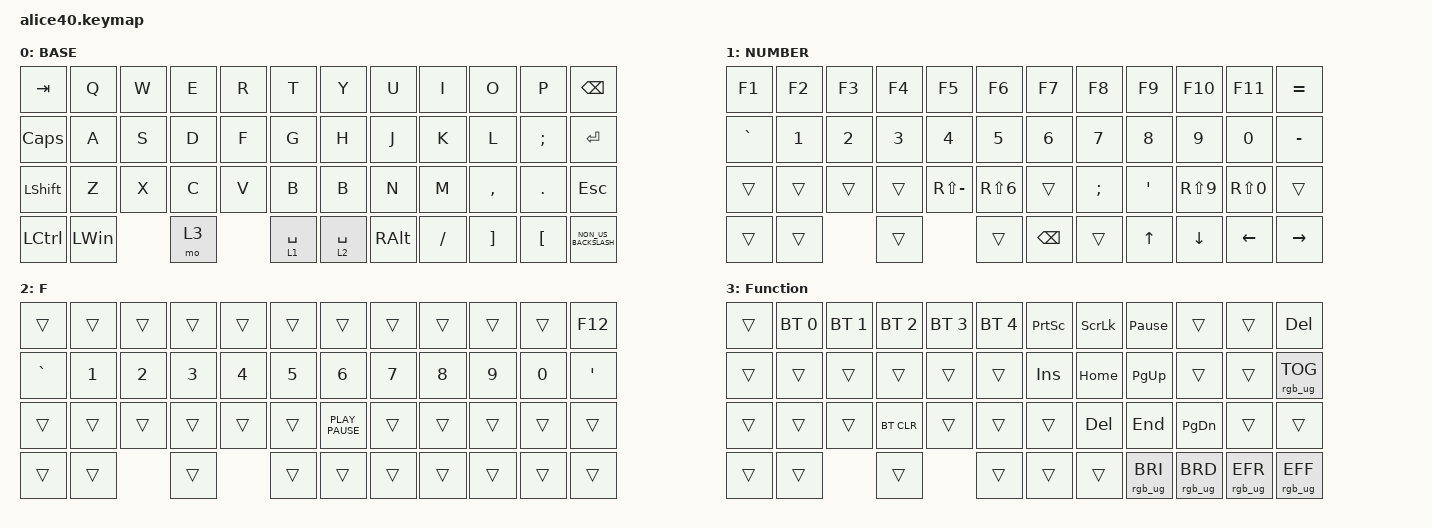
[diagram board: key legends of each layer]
#include <behaviors.dtsi>
#include <dt-bindings/zmk/bt.h>
#include <dt-bindings/zmk/keys.h>
#include <dt-bindings/zmk/rgb.h>

/ {
    keymap {
        compatible = "zmk,keymap";

        Base_layer {
            label = "BASE";
            bindings = <
&kp TAB     &kp Q         &kp W  &kp E  &kp R  &kp T        &kp Y        &kp U          &kp I      &kp O              &kp P             &kp BACKSPACE
&kp CAPS    &kp A         &kp S  &kp D  &kp F  &kp G        &kp H        &kp J          &kp K      &kp L              &kp SEMICOLON     &kp ENTER
&kp LSHIFT  &kp Z         &kp X  &kp C  &kp V  &kp B        &kp B        &kp N          &kp M      &kp COMMA          &kp DOT           &kp ESC
&kp LCTRL   &kp LEFT_WIN         &mo 3         &lt 1 SPACE  &lt 2 SPACE  &kp RIGHT_ALT  &kp SLASH  &kp RIGHT_BRACKET  &kp LEFT_BRACKET  &kp NON_US_BACKSLASH
            >;
        };

        Number_layer {
            bindings = <
&kp F1     &kp F2  &kp F3  &kp F4  &kp F5         &kp F6            &kp F7         &kp F8         &kp F9   &kp F10     &kp F11     &kp EQUAL
&kp GRAVE  &kp N1  &kp N2  &kp N3  &kp N4         &kp N5            &kp N6         &kp N7         &kp N8   &kp N9      &kp N0      &kp MINUS
&trans     &trans  &trans  &trans  &kp RS(MINUS)  &kp RS(NUMBER_6)  &trans         &kp SEMICOLON  &kp SQT  &kp RS(N9)  &kp RS(N0)  &trans
&trans     &trans          &trans                 &trans            &kp BACKSPACE  &trans         &kp UP   &kp DOWN    &kp LEFT    &kp RIGHT
            >;

            label = "NUMBER";
        };

        F_layer {
            bindings = <
&trans     &trans        &trans        &trans        &trans        &trans        &trans            &trans        &trans        &trans        &trans        &kp F12
&kp GRAVE  &kp NUMBER_1  &kp NUMBER_2  &kp NUMBER_3  &kp NUMBER_4  &kp NUMBER_5  &kp NUMBER_6      &kp NUMBER_7  &kp NUMBER_8  &kp NUMBER_9  &kp NUMBER_0  &kp SQT
&trans     &trans        &trans        &trans        &trans        &trans        &kp K_PLAY_PAUSE  &trans        &trans        &trans        &trans        &trans
&trans     &trans                      &trans                      &trans        &trans            &trans        &trans        &trans        &trans        &trans
            >;

            label = "F";
        };

        Function_layer {
            bindings = <
&trans  &bt BT_SEL 0  &bt BT_SEL 1  &bt BT_SEL 2  &bt BT_SEL 3  &bt BT_SEL 4  &kp PRINTSCREEN  &kp SCROLLLOCK  &kp PAUSE_BREAK  &trans           &trans           &kp DEL
&trans  &trans        &trans        &trans        &trans        &trans        &kp INSERT       &kp HOME        &kp PAGE_UP      &trans           &trans           &rgb_ug RGB_TOG
&trans  &trans        &trans        &bt BT_CLR    &trans        &trans        &trans           &kp DELETE      &kp END          &kp PAGE_DOWN    &trans           &trans
&trans  &trans                      &trans                      &trans        &trans           &trans          &rgb_ug RGB_BRI  &rgb_ug RGB_BRD  &rgb_ug RGB_EFR  &rgb_ug RGB_EFF
            >;

            label = "Function";
        };
    };
};
